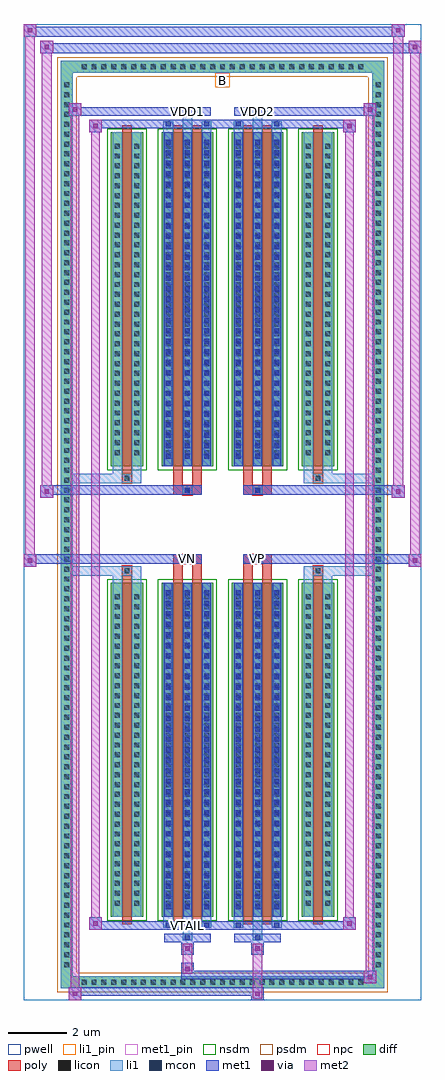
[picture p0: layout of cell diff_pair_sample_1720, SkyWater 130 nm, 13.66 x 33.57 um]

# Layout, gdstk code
import gdstk
lib = gdstk.Library(unit=1e-6, precision=5e-09)
def R(c, l, rs):  # rectangles x0, y0, x1, y1
    for r in rs: c.add(gdstk.rectangle(r[:2], r[2:], *l))
def A(c, l, x, y, w, h, nx, ny, dx, dy):  # array of equal rectangles
    R(c, l, [(x+i*dx, y+j*dy, x+i*dx+w, y+j*dy+h) for i in range(nx) for j in range(ny)])
def P(c, l, *ps):  # polygons
    for p in ps: c.add(gdstk.Polygon(p, *l))
pwell = (64, 44)
diff = (65, 20)
poly = (66, 20)
licon = (66, 44)
li1_pin = (67, 16)
li1 = (67, 20)
mcon = (67, 44)
met1_pin = (68, 16)
met1 = (68, 20)
via = (68, 44)
met2 = (69, 20)
nsdm = (93, 44)
psdm = (94, 20)
npc = (95, 20)

diff_pair_sample_1720 = lib.new_cell('diff_pair_sample_1720')
R(diff_pair_sample_1720, pwell, [(-6.83,-16.35,6.83,17.22), (-4.15,-14.54,-0.01,-0.82), (0.01,-14.54,4.15,-0.82), (-4.15,0.82,-0.01,14.54), (0.01,0.82,4.15,14.54)])
A(diff_pair_sample_1720, diff, -4.965, -15.95, 0.41, 0.41, 29, 2, 0.34, 31.49)
A(diff_pair_sample_1720, diff, -5.56, -15.335, 0.41, 0.41, 1, 90, 0, 0.34)
A(diff_pair_sample_1720, diff, 5.15, -15.335, 0.41, 0.41, 1, 90, 0, 0.34)
R(diff_pair_sample_1720, diff, [(-4.965,-15.95,4.965,-15.54), (-5.56,-15.335,-5.15,15.335), (5.15,-15.335,5.56,15.335), (-3.84,-13.495,-2.73,-2.005), (-2.09,-13.495,-0.32,-2.005), (0.32,-13.495,2.09,-2.005), (2.73,-13.495,3.84,-2.005), (-3.84,2.005,-2.73,13.495), (-2.09,2.005,-0.32,13.495), (0.32,2.005,2.09,13.495), (2.73,2.005,3.84,13.495), (-4.965,15.54,4.965,15.95)])
P(diff_pair_sample_1720, diff, [(5.56,15.95),(-5.56,15.95),(-5.56,-15.54),(-5.15,-15.54),(-5.15,15.54),(5.15,15.54),(5.15,-15.54),(-5.15,-15.54),(-5.56,-15.54),(-5.56,-15.95),(5.56,-15.95)])
R(diff_pair_sample_1720, poly, [(-3.45,-13.745,-3.12,-1.755), (-1.7,-13.745,-1.37,-1.755), (-1.04,-13.745,-0.71,-1.755), (0.71,-13.745,1.04,-1.755), (1.37,-13.745,1.7,-1.755), (3.12,-13.745,3.45,-1.755), (-3.45,-1.755,-3.12,-1.425), (-3.45,-1.755,-3.12,-1.425), (-1.7,-1.755,-1.37,-1.35), (-1.04,-1.755,-0.71,-1.35), (0.71,-1.755,1.04,-1.35), (1.37,-1.755,1.7,-1.35), (3.12,-1.755,3.45,-1.425), (3.12,-1.755,3.45,-1.425), (-1.7,-1.35,-0.71,-1.02), (-1.37,-1.35,-1.04,-1.02), (0.71,-1.35,1.7,-1.02), (1.04,-1.35,1.37,-1.02), (-1.7,1.02,-0.71,1.35), (-1.37,1.02,-1.04,1.35), (0.71,1.02,1.7,1.35), (1.04,1.02,1.37,1.35), (-1.7,1.35,-1.37,1.755), (-1.04,1.35,-0.71,1.755), (0.71,1.35,1.04,1.755), (1.37,1.35,1.7,1.755), (-3.45,1.425,-3.12,1.755), (-3.45,1.425,-3.12,1.755), (3.12,1.425,3.45,1.755), (3.12,1.425,3.45,1.755), (-3.45,1.755,-3.12,13.745), (-1.7,1.755,-1.37,13.745), (-1.04,1.755,-0.71,13.745), (0.71,1.755,1.04,13.745), (1.37,1.755,1.7,13.745), (3.12,1.755,3.45,13.745)])
A(diff_pair_sample_1720, licon, -4.845, -15.83, 0.17, 0.17, 29, 2, 0.34, 31.49)
A(diff_pair_sample_1720, licon, -5.44, -15.215, 0.17, 0.17, 1, 90, 0, 0.34)
A(diff_pair_sample_1720, licon, 5.27, -15.215, 0.17, 0.17, 1, 90, 0, 0.34)
A(diff_pair_sample_1720, licon, -3.7, -13.105, 0.17, 0.17, 1, 32, 0, 0.34)
A(diff_pair_sample_1720, licon, -3.04, -13.105, 0.17, 0.17, 1, 32, 0, 0.34)
A(diff_pair_sample_1720, licon, -1.95, -13.105, 0.17, 0.17, 3, 32, 0.66, 0.34)
A(diff_pair_sample_1720, licon, 0.46, -13.105, 0.17, 0.17, 3, 32, 0.66, 0.34)
A(diff_pair_sample_1720, licon, 2.87, -13.105, 0.17, 0.17, 1, 32, 0, 0.34)
A(diff_pair_sample_1720, licon, 3.53, -13.105, 0.17, 0.17, 1, 32, 0, 0.34)
A(diff_pair_sample_1720, licon, -3.7, 2.395, 0.17, 0.17, 1, 32, 0, 0.34)
A(diff_pair_sample_1720, licon, -3.04, 2.395, 0.17, 0.17, 1, 32, 0, 0.34)
A(diff_pair_sample_1720, licon, -1.95, 2.395, 0.17, 0.17, 3, 32, 0.66, 0.34)
A(diff_pair_sample_1720, licon, 0.46, 2.395, 0.17, 0.17, 3, 32, 0.66, 0.34)
A(diff_pair_sample_1720, licon, 2.87, 2.395, 0.17, 0.17, 1, 32, 0, 0.34)
A(diff_pair_sample_1720, licon, 3.53, 2.395, 0.17, 0.17, 1, 32, 0, 0.34)
R(diff_pair_sample_1720, licon, [(-3.37,-1.675,-3.2,-1.505), (3.2,-1.675,3.37,-1.505), (-1.29,-1.27,-1.12,-1.1), (1.12,-1.27,1.29,-1.1), (-1.29,1.1,-1.12,1.27), (1.12,1.1,1.29,1.27), (-3.37,1.505,-3.2,1.675), (3.2,1.505,3.37,1.675)])
R(diff_pair_sample_1720, li1_pin, [(-0.25,15.04,0.25,15.54)])
A(diff_pair_sample_1720, li1, -4.925, -15.91, 0.33, 0.33, 29, 2, 0.34, 31.49)
A(diff_pair_sample_1720, li1, -5.52, -15.295, 0.33, 0.33, 1, 90, 0, 0.34)
A(diff_pair_sample_1720, li1, 5.19, -15.295, 0.33, 0.33, 1, 90, 0, 0.34)
A(diff_pair_sample_1720, li1, -2.03, -13.495, 0.33, 11.49, 3, 2, 0.66, 15.5)
A(diff_pair_sample_1720, li1, 0.38, -13.495, 0.33, 11.49, 3, 2, 0.66, 15.5)
A(diff_pair_sample_1720, li1, -1.95, -13.235, 0.17, 0.17, 3, 31, 0.66, 0.36)
A(diff_pair_sample_1720, li1, -1.95, -13.235, 0.17, 10.97, 3, 2, 0.66, 15.5)
A(diff_pair_sample_1720, li1, 0.46, -13.235, 0.17, 0.17, 3, 31, 0.66, 0.36)
A(diff_pair_sample_1720, li1, 0.46, -13.235, 0.17, 10.97, 3, 2, 0.66, 15.5)
A(diff_pair_sample_1720, li1, -3.78, -13.185, 0.33, 0.33, 1, 32, 0, 0.34)
A(diff_pair_sample_1720, li1, -3.12, -13.185, 0.33, 0.33, 1, 32, 0, 0.34)
A(diff_pair_sample_1720, li1, -2.03, -13.185, 0.33, 0.33, 3, 32, 0.66, 0.34)
A(diff_pair_sample_1720, li1, 0.38, -13.185, 0.33, 0.33, 3, 32, 0.66, 0.34)
A(diff_pair_sample_1720, li1, 2.79, -13.185, 0.33, 0.33, 1, 32, 0, 0.34)
A(diff_pair_sample_1720, li1, 3.45, -13.185, 0.33, 0.33, 1, 32, 0, 0.34)
A(diff_pair_sample_1720, li1, -3.78, -1.755, 0.33, 0.33, 3, 2, 0.33, 3.18)
A(diff_pair_sample_1720, li1, 2.79, -1.755, 0.33, 0.33, 3, 2, 0.33, 3.18)
A(diff_pair_sample_1720, li1, -1.95, 2.265, 0.17, 0.17, 3, 31, 0.66, 0.36)
A(diff_pair_sample_1720, li1, 0.46, 2.265, 0.17, 0.17, 3, 31, 0.66, 0.36)
A(diff_pair_sample_1720, li1, -3.78, 2.315, 0.33, 0.33, 1, 32, 0, 0.34)
A(diff_pair_sample_1720, li1, -3.12, 2.315, 0.33, 0.33, 1, 32, 0, 0.34)
A(diff_pair_sample_1720, li1, -2.03, 2.315, 0.33, 0.33, 3, 32, 0.66, 0.34)
A(diff_pair_sample_1720, li1, 0.38, 2.315, 0.33, 0.33, 3, 32, 0.66, 0.34)
A(diff_pair_sample_1720, li1, 2.79, 2.315, 0.33, 0.33, 1, 32, 0, 0.34)
A(diff_pair_sample_1720, li1, 3.45, 2.315, 0.33, 0.33, 1, 32, 0, 0.34)
R(diff_pair_sample_1720, li1, [(-5.56,-15.95,-5.15,-15.54), (-5.56,-15.95,-5.15,-15.54), (-5.15,-15.95,5.15,-15.54), (5.15,-15.95,5.56,-15.54), (5.15,-15.95,5.56,-15.54), (-5.56,-15.54,-5.15,15.54), (5.15,-15.54,5.56,15.54), (-1.37,-14.3,-1.04,-13.495), (-1.29,-14.3,-1.12,-14.13), (1.04,-14.3,1.37,-13.495), (1.12,-14.3,1.29,-14.13), (-2.03,-13.87,-1.7,-13.495), (-1.95,-13.87,-1.78,-13.7), (-0.71,-13.87,-0.38,-13.495), (-0.63,-13.87,-0.46,-13.7), (0.38,-13.87,0.71,-13.495), (0.46,-13.87,0.63,-13.7), (1.7,-13.87,2.03,-13.495), (1.78,-13.87,1.95,-13.7), (-3.78,-13.495,-3.45,-2.005), (-3.12,-13.495,-2.79,-2.005), (2.79,-13.495,3.12,-2.005), (3.45,-13.495,3.78,-2.005), (-3.78,-2.005,-3.45,-1.425), (-3.12,-2.005,-2.79,-1.425), (2.79,-2.005,3.12,-1.425), (3.45,-2.005,3.78,-1.425), (-5.56,-1.755,-3.45,-1.425), (3.12,-1.755,5.56,-1.425), (-1.37,-1.35,-1.04,-1.02), (1.04,-1.35,1.37,-1.02), (-1.37,1.02,-1.04,1.35), (1.04,1.02,1.37,1.35), (-5.56,1.425,-3.45,1.755), (-3.78,1.425,-3.45,2.005), (-3.12,1.425,-2.79,2.005), (2.79,1.425,3.12,2.005), (3.12,1.425,5.56,1.755), (3.45,1.425,3.78,2.005), (-3.78,2.005,-3.45,13.495), (-3.12,2.005,-2.79,13.495), (2.79,2.005,3.12,13.495), (3.45,2.005,3.78,13.495), (-2.03,13.495,-1.7,13.87), (-1.37,13.495,-1.04,14.3), (-0.71,13.495,-0.38,13.87), (0.38,13.495,0.71,13.87), (1.04,13.495,1.37,14.3), (1.7,13.495,2.03,13.87), (-1.95,13.7,-1.78,13.87), (-0.63,13.7,-0.46,13.87), (0.46,13.7,0.63,13.87), (1.78,13.7,1.95,13.87), (-1.29,14.13,-1.12,14.3), (1.12,14.13,1.29,14.3), (-5.56,15.54,-5.15,15.95), (-5.56,15.54,-5.15,15.95), (-5.15,15.54,5.15,15.95), (5.15,15.54,5.56,15.95), (5.15,15.54,5.56,15.95)])
A(diff_pair_sample_1720, mcon, -1.95, -13.235, 0.17, 0.17, 3, 31, 0.66, 0.36)
A(diff_pair_sample_1720, mcon, 0.46, -13.235, 0.17, 0.17, 3, 31, 0.66, 0.36)
A(diff_pair_sample_1720, mcon, -1.95, 2.265, 0.17, 0.17, 3, 31, 0.66, 0.36)
A(diff_pair_sample_1720, mcon, 0.46, 2.265, 0.17, 0.17, 3, 31, 0.66, 0.36)
R(diff_pair_sample_1720, mcon, [(-1.29,-14.3,-1.12,-14.13), (1.12,-14.3,1.29,-14.13), (-1.95,-13.87,-1.78,-13.7), (-0.63,-13.87,-0.46,-13.7), (0.46,-13.87,0.63,-13.7), (1.78,-13.87,1.95,-13.7), (-1.29,-1.27,-1.12,-1.1), (1.12,-1.27,1.29,-1.1), (-1.29,1.1,-1.12,1.27), (1.12,1.1,1.29,1.27), (-1.95,13.7,-1.78,13.87), (-0.63,13.7,-0.46,13.87), (0.46,13.7,0.63,13.87), (1.78,13.7,1.95,13.87), (-1.29,14.13,-1.12,14.3), (1.12,14.13,1.29,14.3)])
R(diff_pair_sample_1720, met1_pin, [(-1.34,-13.91,-1.07,-13.64), (-1.34,-1.29,-1.07,-1.02), (1.07,-1.29,1.34,-1.02), (-1.34,14.09,-1.07,14.36), (1.07,14.09,1.34,14.36)])
A(diff_pair_sample_1720, met1, -2.01, -13.495, 0.29, 11.49, 3, 2, 0.66, 15.5)
A(diff_pair_sample_1720, met1, 0.4, -13.495, 0.29, 11.49, 3, 2, 0.66, 15.5)
A(diff_pair_sample_1720, met1, -2.01, -13.295, 0.29, 0.29, 3, 31, 0.66, 0.36)
A(diff_pair_sample_1720, met1, 0.4, -13.295, 0.29, 0.29, 3, 31, 0.66, 0.36)
A(diff_pair_sample_1720, met1, -2.01, 2.205, 0.29, 0.29, 3, 31, 0.66, 0.36)
A(diff_pair_sample_1720, met1, 0.4, 2.205, 0.29, 0.29, 3, 31, 0.66, 0.36)
R(diff_pair_sample_1720, met1, [(-5.29,-16.35,-4.86,-15.92), (0.99,-16.35,1.42,-15.92), (-5.29,-16.21,1.42,-15.92), (4.86,-15.78,5.29,-15.35), (-1.42,-15.64,5.29,-15.35), (-1.42,-15.5,-0.99,-15.07), (-1.42,-14.79,-0.99,-14.36), (0.99,-14.79,1.42,-14.36), (-2.01,-14.36,-0.4,-14.07), (-1.35,-14.36,-1.06,-14.07), (0.4,-14.36,2.01,-14.07), (1.06,-14.36,1.35,-14.07), (-4.58,-13.93,-4.15,-13.5), (-4.58,-13.93,-2.01,-13.64), (-2.01,-13.93,-1.72,-13.64), (-2.01,-13.93,-0.4,-13.64), (-0.69,-13.93,-0.4,-13.64), (-0.4,-13.93,0.4,-13.64), (0.4,-13.93,0.69,-13.64), (0.4,-13.93,2.01,-13.64), (1.72,-13.93,2.01,-13.64), (2.01,-13.93,4.58,-13.64), (4.15,-13.93,4.58,-13.5), (-6.83,-1.45,-6.4,-1.02), (6.4,-1.45,6.83,-1.02), (-6.83,-1.35,-0.71,-1.02), (-1.7,-1.35,-0.71,-1.02), (0.71,-1.35,1.7,-1.02), (0.71,-1.35,6.83,-1.02), (-1.35,-1.33,-1.06,-1.04), (1.06,-1.33,1.35,-1.04), (-6.26,0.92,-5.83,1.35), (5.83,0.92,6.26,1.35), (-6.26,1.02,-1.7,1.35), (-1.7,1.02,-0.71,1.35), (0.71,1.02,1.7,1.35), (1.7,1.02,6.26,1.35), (-1.35,1.04,-1.06,1.33), (1.06,1.04,1.35,1.33), (-4.58,13.5,-4.15,13.93), (4.15,13.5,4.58,13.93), (-4.58,13.64,-2.01,13.93), (-2.01,13.64,-1.72,13.93), (-2.01,13.64,-0.4,13.93), (-0.69,13.64,-0.4,13.93), (-0.4,13.64,0.4,13.93), (0.4,13.64,0.69,13.93), (0.4,13.64,2.01,13.93), (1.72,13.64,2.01,13.93), (2.01,13.64,4.58,13.93), (-5.29,14.07,-4.86,14.5), (-5.29,14.07,-2.01,14.36), (-2.01,14.07,-0.4,14.36), (-1.35,14.07,-1.06,14.36), (0.4,14.07,2.01,14.36), (1.06,14.07,1.35,14.36), (2.01,14.07,5.29,14.36), (4.86,14.07,5.29,14.5), (-6.26,16.22,-5.83,16.65), (-6.26,16.22,-4.15,16.55), (-4.15,16.22,4.15,16.55), (4.15,16.22,6.83,16.55), (6.4,16.22,6.83,16.65), (-6.83,16.79,-6.4,17.22), (-6.83,16.79,-4.15,17.12), (-4.15,16.79,4.15,17.12), (4.15,16.79,6.26,17.12), (5.83,16.79,6.26,17.22)])
R(diff_pair_sample_1720, via, [(-5.15,-16.21,-5,-16.06), (1.13,-16.21,1.28,-16.06), (5,-15.64,5.15,-15.49), (-1.28,-15.36,-1.13,-15.21), (-1.28,-14.65,-1.13,-14.5), (1.13,-14.65,1.28,-14.5), (-4.44,-13.79,-4.29,-13.64), (4.29,-13.79,4.44,-13.64), (-6.69,-1.31,-6.54,-1.16), (6.54,-1.31,6.69,-1.16), (-6.12,1.06,-5.97,1.21), (5.97,1.06,6.12,1.21), (-4.44,13.64,-4.29,13.79), (4.29,13.64,4.44,13.79), (-5.15,14.21,-5,14.36), (5,14.21,5.15,14.36), (-6.12,16.36,-5.97,16.51), (6.54,16.36,6.69,16.51), (-6.69,16.93,-6.54,17.08), (5.97,16.93,6.12,17.08)])
R(diff_pair_sample_1720, met2, [(-5.29,-16.35,-4.86,-15.92), (-5.22,-16.35,-4.93,14.5), (-4.93,-16.35,-4.86,-15.92), (-5.24,-16.3,-4.91,-15.97), (1.04,-16.3,1.37,-15.97), (1.04,-15.97,1.37,-14.74), (4.86,-15.78,5.29,-15.35), (4.93,-15.78,5.22,14.5), (5.22,-15.78,5.29,-15.35), (4.91,-15.73,5.24,-15.4), (-1.37,-15.45,-1.04,-15.12), (-1.37,-15.12,-1.04,-14.74), (-1.37,-14.74,-1.04,-14.41), (1.04,-14.74,1.37,-14.41), (-4.58,-13.93,-4.15,-13.5), (-4.51,-13.93,-4.22,13.93), (-4.22,-13.93,-4.15,-13.5), (4.15,-13.93,4.58,-13.5), (4.22,-13.93,4.51,13.93), (4.51,-13.93,4.58,-13.5), (-4.53,-13.88,-4.2,-13.55), (4.2,-13.88,4.53,-13.55), (-6.83,-1.45,-6.4,-1.02), (-6.78,-1.45,-6.45,17.22), (-6.45,-1.45,-6.4,-1.02), (6.4,-1.45,6.83,-1.02), (6.45,-1.45,6.78,16.65), (6.78,-1.45,6.83,-1.02), (-6.78,-1.4,-6.45,-1.07), (6.45,-1.4,6.78,-1.07), (-6.26,0.92,-5.83,1.35), (-6.21,0.92,-5.88,16.65), (-5.88,0.92,-5.83,1.35), (5.83,0.92,6.26,1.35), (5.88,0.92,6.21,17.22), (6.21,0.92,6.26,1.35), (-6.21,0.97,-5.88,1.3), (5.88,0.97,6.21,1.3), (-4.58,13.5,-4.15,13.93), (-4.22,13.5,-4.15,13.93), (4.15,13.5,4.58,13.93), (4.51,13.5,4.58,13.93), (-4.53,13.55,-4.2,13.88), (4.2,13.55,4.53,13.88), (-5.29,14.07,-4.86,14.5), (-4.93,14.07,-4.86,14.5), (4.86,14.07,5.29,14.5), (5.22,14.07,5.29,14.5), (-5.24,14.12,-4.91,14.45), (4.91,14.12,5.24,14.45), (-6.26,16.22,-5.83,16.65), (-5.88,16.22,-5.83,16.65), (6.4,16.22,6.83,16.65), (6.78,16.22,6.83,16.65), (-6.21,16.27,-5.88,16.6), (6.45,16.27,6.78,16.6), (-6.83,16.79,-6.4,17.22), (-6.45,16.79,-6.4,17.22), (5.83,16.79,6.26,17.22), (6.21,16.79,6.26,17.22), (-6.78,16.84,-6.45,17.17), (5.88,16.84,6.21,17.17)])
R(diff_pair_sample_1720, nsdm, [(-3.97,-13.625,-2.6,-1.875), (-2.22,-13.625,-0.19,-1.875), (0.19,-13.625,2.22,-1.875), (2.6,-13.625,3.97,-1.875), (-3.97,1.875,-2.6,13.625), (-2.22,1.875,-0.19,13.625), (0.19,1.875,2.22,13.625), (2.6,1.875,3.97,13.625)])
P(diff_pair_sample_1720, psdm, [(5.69,16.08),(-5.69,16.08),(-5.69,-15.41),(-5.02,-15.41),(-5.02,15.41),(5.02,15.41),(5.02,-15.41),(-5.02,-15.41),(-5.69,-15.41),(-5.69,-16.08),(5.69,-16.08)])
R(diff_pair_sample_1720, npc, [(-3.47,-1.775,-3.1,-1.405), (3.1,-1.775,3.47,-1.405), (-1.39,-1.37,-1.02,-1), (1.02,-1.37,1.39,-1), (-1.39,1,-1.02,1.37), (1.02,1,1.39,1.37), (-3.47,1.405,-3.1,1.775), (3.1,1.405,3.47,1.775)])
diff_pair_sample_1720.add(gdstk.Label('VTAIL', (-1.205,-13.775), layer=68, texttype=5))
diff_pair_sample_1720.add(gdstk.Label('VN', (-1.205,-1.155), layer=68, texttype=5))
diff_pair_sample_1720.add(gdstk.Label('VP', (1.205,-1.155), layer=68, texttype=5))
diff_pair_sample_1720.add(gdstk.Label('B', (0,15.29), layer=67, texttype=5))
diff_pair_sample_1720.add(gdstk.Label('VDD2', (1.205,14.225), layer=68, texttype=5))
diff_pair_sample_1720.add(gdstk.Label('VDD1', (-1.205,14.225), layer=68, texttype=5))

lib.write_gds('diff_pair_sample_1720.gds')
